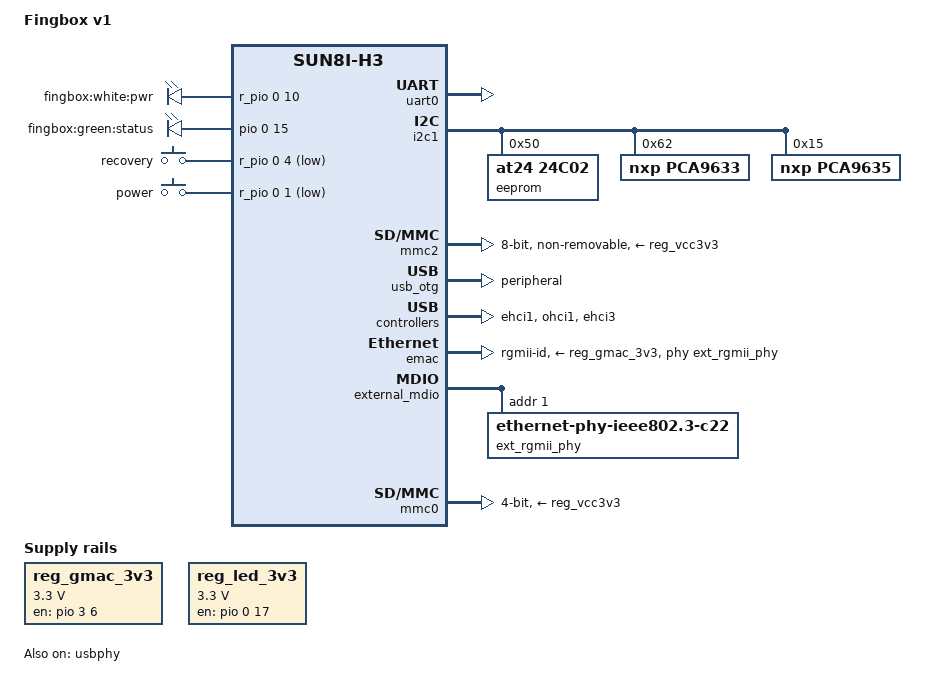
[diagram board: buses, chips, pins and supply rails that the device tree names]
/dts-v1/;
#include "allwinner/sun8i-h3.dtsi"
#include "allwinner/sunxi-common-regulators.dtsi"

#include <dt-bindings/gpio/gpio.h>
#include <dt-bindings/input/input.h>

/ {
	model = "Fingbox v1";
	compatible = "fing,fingbox-v1", "allwinner,sun8i-h3";

	aliases {
		serial0 = &uart0;
		ethernet0 = &emac;
	};

	chosen {
		stdout-path = "serial0:115200n8";
	};

	leds {
		compatible = "gpio-leds";

		// White internal power LED
		pwr_led {
			label = "fingbox:white:pwr";
			gpios = <&r_pio 0 10 GPIO_ACTIVE_HIGH>; /* PL10 */
			default-state = "on";
		};

		// Green internal status LED
		status_led {
			label = "fingbox:green:status";
			gpios = <&pio 0 15 GPIO_ACTIVE_HIGH>; /* PA15 */
		};
	};

	r_gpio_keys {
		compatible = "gpio-keys";

		// External "RESET" button
		recovery {
			label = "recovery";
			linux,code = <KEY_POWER>;
			gpios = <&r_pio 0 4 GPIO_ACTIVE_LOW>; /* PL4 */
			wakeup-source;
		};

		// Internal "POWER" button
		power {
			label = "power";
			linux,code = <BTN_0>;
			gpios = <&r_pio 0 1 GPIO_ACTIVE_LOW>; /* PL0 */
			wakeup-source;
		};
	};

	reg_gmac_3v3: gmac-3v3 {
		compatible = "regulator-fixed";
		regulator-name = "gmac-3v3";
		regulator-min-microvolt = <3300000>;
		regulator-max-microvolt = <3300000>;
		startup-delay-us = <100000>;
		enable-active-high;
		gpio = <&pio 3 6 GPIO_ACTIVE_HIGH>; /* PD6 */
	};

	reg_led_3v3: led-3v3 {
		compatible = "regulator-fixed";
		regulator-name = "led-3v3";
		regulator-min-microvolt = <3300000>;
		regulator-max-microvolt = <3300000>;
		regulator-boot-on;
		regulator-always-on;
		enable-active-high;
		gpio = <&pio 0 17 GPIO_ACTIVE_HIGH>; /* PA17 */
	};
};

&uart0 {
	status = "okay";
	pinctrl-names = "default";
	pinctrl-0 = <&uart0_pa_pins>; /* PA4, PA5 */
};

&i2c1 {
	status = "okay";
	pinctrl-names = "default";
	pinctrl-0 = <&i2c1_pins>; /* PA18, PA19 */

	eeprom@50 {
		compatible = "at24,24c02";
		reg = <0x50>;
		pagesize = <0x10>;
	};

	pca9633@62 {
		compatible = "nxp,pca9633";
		#address-cells = <0x01>;
		#size-cells = <0x00>;
		reg = <0x62>;
		nxp,totem-pole;

		red1@1 {
			label = "fingbox:led1:red";
			reg = <0x1>;
		};
		green1@0 {
			label = "fingbox:led1:green";
			reg = <0x0>;
		};
		blue1@2 {
			label = "fingbox:led1:blue";
			reg = <0x2>;
		};
	};

	pca9635@15 {
		compatible = "nxp,pca9635";
		#address-cells = <0x01>;
		#size-cells = <0x00>;
		reg = <0x15>;
		nxp,totem-pole;

		red2@1 {
			label = "fingbox:led2:red";
			reg = <0x1>;
		};
		green2@0 {
			label = "fingbox:led2:green";
			reg = <0x0>;
		};
		blue2@2 {
			label = "fingbox:led2:blue";
			reg = <0x2>;
		};

		red3@a {
			label = "fingbox:led3:red";
			reg = <0xa>;
		};
		green3@9 {
			label = "fingbox:led3:green";
			reg = <0x9>;
		};
		blue3@b {
			label = "fingbox:led3:blue";
			reg = <0xb>;
		};

		red4@d {
			label = "fingbox:led4:red";
			reg = <0xd>;
		};
		green4@c {
			label = "fingbox:led4:green";
			reg = <0xc>;
		};
		blue4@e {
			label = "fingbox:led4:blue";
			reg = <0xe>;
		};

		red5@7 {
			label = "fingbox:led5:red";
			reg = <0x7>;
		};
		green5@6 {
			label = "fingbox:led5:green";
			reg = <0x6>;
		};
		blue5@8 {
			label = "fingbox:led5:blue";
			reg = <0x8>;
		};

		red6@4 {
			label = "fingbox:led6:red";
			reg = <0x4>;
		};
		green6@3 {
			label = "fingbox:led6:green";
			reg = <0x3>;
		};
		blue6@5 {
			label = "fingbox:led6:blue";
			reg = <0x5>;
		};
	};
};

&mmc2 {
	pinctrl-names = "default";
	pinctrl-0 = <&mmc2_8bit_pins>; /* PC5~PC6, PC8~PC16 */
	vmmc-supply = <&reg_vcc3v3>;
	bus-width = <8>;
	non-removable;
	cap-mmc-hw-reset;
	status = "okay";
};

&mmc2_8bit_pins {
	/* Increase drive strength for DDR modes */
	drive-strength = <40>;
	/* eMMC is missing pull-ups */
	bias-pull-up;
};

&reg_usb1_vbus {
	status = "okay";
	gpio = <&r_pio 0 3 GPIO_ACTIVE_HIGH>; /* PL3 */
};

&usbphy {
	status = "okay";
	usb1_vbus-supply = <&reg_usb1_vbus>;
};

&usb_otg {
	status = "okay";
	dr_mode = "peripheral";
};

// USB Micro-B port - disabled; gadget mode only
&ehci0 {
	status = "disabled";
};

&ohci0 {
	status = "disabled";
};

// USB A port - EHCI and OHCI enabled
&ehci1 {
	status = "okay";
};

&ohci1 {
	status = "okay";
};

// Not connected - disabled
&ehci2 {
	status = "disabled";
};

&ohci2 {
	status = "disabled";
};

// Wi-Fi card (AR9271) - only EHCI enabled (USB 2.0)
&ehci3 {
	status = "okay";
};

&ohci3 {
	status = "disabled";
};

&emac {
	pinctrl-names = "default";
	pinctrl-0 = <&emac_rgmii_pins>;
	phy-supply = <&reg_gmac_3v3>;
	phy-handle = <&ext_rgmii_phy>;
	phy-mode = "rgmii-id";
	allwinner,leds-active-low;
	status = "okay";
};

&external_mdio {
	ext_rgmii_phy: ethernet-phy@1 {
		compatible = "ethernet-phy-ieee802.3-c22";
		reg = <1>;
	};
};

&mmc0 {
	pinctrl-names = "default";
	pinctrl-0 = <&mmc0_pins>; /* PF0~PF5 */
	vmmc-supply = <&reg_vcc3v3>;
	bus-width = <4>;
	status = "okay";
};
